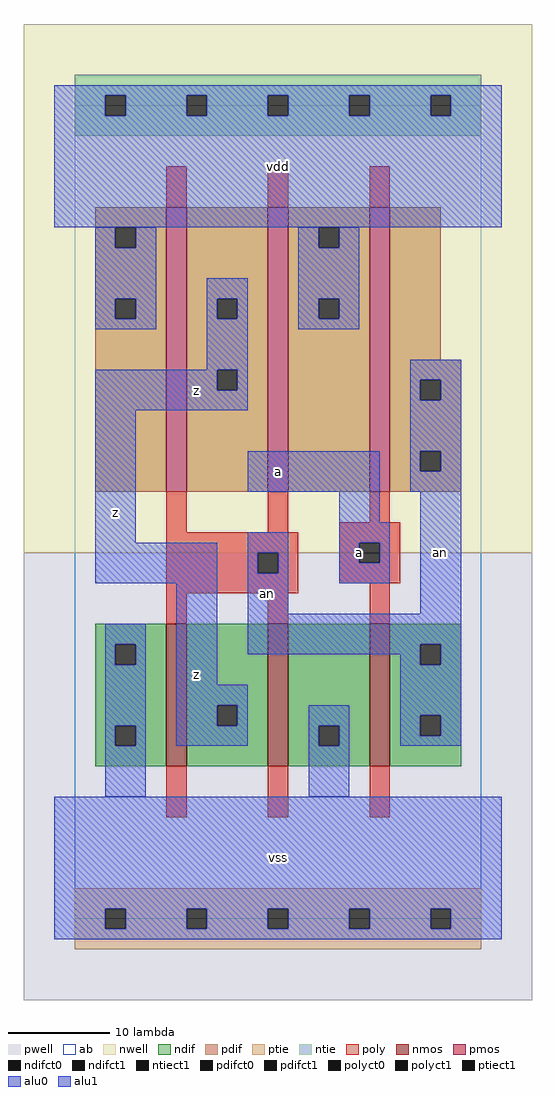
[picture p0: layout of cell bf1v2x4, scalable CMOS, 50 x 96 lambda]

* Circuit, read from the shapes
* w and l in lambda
.subckt bf1v2x4 a an vdd vss z
M1 z an vss vss nfet w=14 l=2 m=2
M2 an a vss vss nfet w=14 l=2
M3 z an vdd vdd pfet w=28 l=2 m=2
M4 an a vdd vdd pfet w=28 l=2
.ends

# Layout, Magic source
magic
tech scmos
<< ab >>
rect 0 0 40 80
<< nwell >>
rect -5 36 45 88
<< pwell >>
rect -5 -8 45 36
<< poly >>
rect 9 70 11 74
rect 19 70 21 74
rect 29 70 31 74
rect 9 38 11 42
rect 19 38 21 42
rect 29 39 31 42
rect 9 36 22 38
rect 9 34 18 36
rect 20 34 22 36
rect 9 32 22 34
rect 26 37 32 39
rect 26 35 28 37
rect 30 35 32 37
rect 26 33 32 35
rect 9 29 11 32
rect 19 29 21 32
rect 29 29 31 33
rect 9 10 11 15
rect 19 10 21 15
rect 29 10 31 15
<< ndif >>
rect 2 27 9 29
rect 2 25 4 27
rect 6 25 9 27
rect 2 19 9 25
rect 2 17 4 19
rect 6 17 9 19
rect 2 15 9 17
rect 11 21 19 29
rect 11 19 14 21
rect 16 19 19 21
rect 11 15 19 19
rect 21 19 29 29
rect 21 17 24 19
rect 26 17 29 19
rect 21 15 29 17
rect 31 27 38 29
rect 31 25 34 27
rect 36 25 38 27
rect 31 20 38 25
rect 31 18 34 20
rect 36 18 38 20
rect 31 15 38 18
<< pdif >>
rect 2 68 9 70
rect 2 66 4 68
rect 6 66 9 68
rect 2 61 9 66
rect 2 59 4 61
rect 6 59 9 61
rect 2 42 9 59
rect 11 61 19 70
rect 11 59 14 61
rect 16 59 19 61
rect 11 54 19 59
rect 11 52 14 54
rect 16 52 19 54
rect 11 42 19 52
rect 21 68 29 70
rect 21 66 24 68
rect 26 66 29 68
rect 21 61 29 66
rect 21 59 24 61
rect 26 59 29 61
rect 21 42 29 59
rect 31 55 36 70
rect 31 53 38 55
rect 31 51 34 53
rect 36 51 38 53
rect 31 46 38 51
rect 31 44 34 46
rect 36 44 38 46
rect 31 42 38 44
<< alu1 >>
rect -2 81 42 82
rect -2 79 3 81
rect 5 79 11 81
rect 13 79 19 81
rect 21 79 27 81
rect 29 79 35 81
rect 37 79 42 81
rect -2 68 42 79
rect 13 61 17 63
rect 13 59 14 61
rect 16 59 17 61
rect 13 54 17 59
rect 2 52 14 54
rect 16 52 17 54
rect 2 50 17 52
rect 2 37 6 50
rect 17 42 30 46
rect 26 39 30 42
rect 2 33 14 37
rect 10 23 14 33
rect 26 37 31 39
rect 26 35 28 37
rect 30 35 31 37
rect 26 33 31 35
rect 10 21 17 23
rect 10 19 14 21
rect 16 19 17 21
rect 10 17 17 19
rect -2 1 42 12
rect -2 -1 3 1
rect 5 -1 11 1
rect 13 -1 19 1
rect 21 -1 27 1
rect 29 -1 35 1
rect 37 -1 42 1
rect -2 -2 42 -1
<< ptie >>
rect 0 1 40 3
rect 0 -1 3 1
rect 5 -1 11 1
rect 13 -1 19 1
rect 21 -1 27 1
rect 29 -1 35 1
rect 37 -1 40 1
rect 0 -3 40 -1
<< ntie >>
rect 0 81 40 83
rect 0 79 3 81
rect 5 79 11 81
rect 13 79 19 81
rect 21 79 27 81
rect 29 79 35 81
rect 37 79 40 81
rect 0 77 40 79
<< nmos >>
rect 9 15 11 29
rect 19 15 21 29
rect 29 15 31 29
<< pmos >>
rect 9 42 11 70
rect 19 42 21 70
rect 29 42 31 70
<< polyct0 >>
rect 18 34 20 36
<< polyct1 >>
rect 28 35 30 37
<< ndifct0 >>
rect 4 25 6 27
rect 4 17 6 19
rect 24 17 26 19
rect 34 25 36 27
rect 34 18 36 20
<< ndifct1 >>
rect 14 19 16 21
<< ntiect1 >>
rect 3 79 5 81
rect 11 79 13 81
rect 19 79 21 81
rect 27 79 29 81
rect 35 79 37 81
<< ptiect1 >>
rect 3 -1 5 1
rect 11 -1 13 1
rect 19 -1 21 1
rect 27 -1 29 1
rect 35 -1 37 1
<< pdifct0 >>
rect 4 66 6 68
rect 4 59 6 61
rect 24 66 26 68
rect 24 59 26 61
rect 34 51 36 53
rect 34 44 36 46
<< pdifct1 >>
rect 14 59 16 61
rect 14 52 16 54
<< alu0 >>
rect 2 66 4 68
rect 6 66 8 68
rect 2 61 8 66
rect 22 66 24 68
rect 26 66 28 68
rect 2 59 4 61
rect 6 59 8 61
rect 2 58 8 59
rect 22 61 28 66
rect 22 59 24 61
rect 26 59 28 61
rect 22 58 28 59
rect 33 53 38 55
rect 33 51 34 53
rect 36 51 38 53
rect 33 46 38 51
rect 33 44 34 46
rect 36 44 38 46
rect 33 42 38 44
rect 3 27 7 29
rect 3 25 4 27
rect 6 25 7 27
rect 3 19 7 25
rect 3 17 4 19
rect 6 17 7 19
rect 17 36 21 38
rect 17 34 18 36
rect 20 34 21 36
rect 17 30 21 34
rect 34 30 38 42
rect 17 27 38 30
rect 17 26 34 27
rect 32 25 34 26
rect 36 25 38 27
rect 23 19 27 21
rect 23 17 24 19
rect 26 17 27 19
rect 32 20 38 25
rect 32 18 34 20
rect 36 18 38 20
rect 32 17 38 18
rect 3 12 7 17
rect 23 12 27 17
<< labels >>
rlabel alu0 19 32 19 32 6 an
rlabel alu0 36 36 36 36 6 an
rlabel alu1 4 40 4 40 6 z
rlabel alu1 12 24 12 24 6 z
rlabel alu1 12 52 12 52 6 z
rlabel alu1 20 6 20 6 6 vss
rlabel alu1 28 36 28 36 6 a
rlabel alu1 20 44 20 44 6 a
rlabel alu1 20 74 20 74 6 vdd
<< end >>
